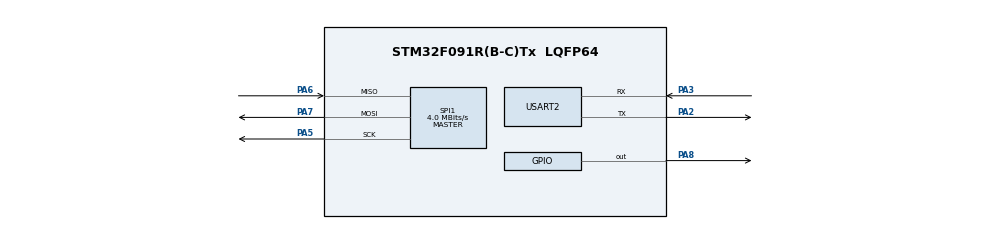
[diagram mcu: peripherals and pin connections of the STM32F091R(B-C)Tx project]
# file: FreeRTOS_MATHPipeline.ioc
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FREERTOS.BinarySemaphores01=SPIBinarySem,Dynamic,NULL,Available
FREERTOS.Mutexes01=SPIBuffMutex,Dynamic,NULL,Available
FREERTOS.Queues01=AccelQueue,100,12,1,Static,AccelQueueBuffer,AccelQueueControlBlock
FREERTOS.Tasks01=UARTTXTask,24,128,StartUARTTXTask,Default,NULL,Dynamic,NULL,NULL;SPIAcquisitionT,8,128,StartSPIAcquisitionTask,Default,NULL,Dynamic,NULL,NULL
FREERTOS.configUSE_NEWLIB_REENTRANT=1
Mcu.Family=STM32F0
Mcu.Name=STM32F091R(B-C)Tx
Mcu.Package=LQFP64
NVIC.SPI1_IRQn=true\:3\:0\:false\:false\:true\:true\:true\:true\:true
NVIC.TIM6_DAC_IRQn=true\:3\:0\:false\:false\:true\:false\:false\:true\:true
NVIC.TimeBase=TIM6_DAC_IRQn
NVIC.TimeBaseIP=TIM6
NVIC.USART2_IRQn=true\:3\:0\:false\:false\:true\:true\:true\:true\:true
PA13.Mode=Serial_Wire
PA13.Signal=SYS_SWDIO
PA14.Mode=Serial_Wire
PA14.Signal=SYS_SWCLK
PA2.Mode=Asynchronous
PA2.Signal=USART2_TX
PA3.Mode=Asynchronous
PA3.Signal=USART2_RX
PA5.Mode=Full_Duplex_Master
PA5.Signal=SPI1_SCK
PA6.Mode=Full_Duplex_Master
PA6.Signal=SPI1_MISO
PA7.Mode=Full_Duplex_Master
PA7.Signal=SPI1_MOSI
PA8.Signal=GPIO_Output
ProjectManager.HeapSize=0x200
ProjectManager.StackSize=0x400
ProjectManager.TargetToolchain=STM32CubeIDE
SPI1.BaudRatePrescaler=SPI_BAUDRATEPRESCALER_2
SPI1.CLKPhase=SPI_PHASE_2EDGE
SPI1.CLKPolarity=SPI_POLARITY_HIGH
SPI1.CalculateBaudRate=4.0 MBits/s
SPI1.DataSize=SPI_DATASIZE_8BIT
SPI1.Direction=SPI_DIRECTION_2LINES
SPI1.FirstBit=SPI_FIRSTBIT_LSB
SPI1.Mode=SPI_MODE_MASTER
SPI1.VirtualType=VM_MASTER
USART2.VirtualMode-Asynchronous=VM_ASYNC
VP_FREERTOS_VS_CMSIS_V2.Mode=CMSIS_V2
VP_SYS_VS_tim6.Mode=TIM6
board=custom

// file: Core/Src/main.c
/* USER CODE BEGIN Header */
/**
  ******************************************************************************
  * @file           : main.c
  * @brief          : Main program body
  ******************************************************************************
  * @attention
  *
  * Copyright (c) 2026 STMicroelectronics.
  * All rights reserved.
  *
  * This software is licensed under terms that can be found in the LICENSE file
  * in the root directory of this software component.
  * If no LICENSE file comes with this software, it is provided AS-IS.
  *
  ******************************************************************************
  */
/* USER CODE END Header */
#include "main.h"
#include "cmsis_os.h"

/* USER CODE BEGIN Includes */

#include "app_types.h"
#include <stdbool.h>
#include <string.h>

/* USER CODE END Includes */

typedef StaticQueue_t osStaticMessageQDef_t;

SPI_HandleTypeDef hspi1;

UART_HandleTypeDef huart2;

/* Definitions for UARTTXTask */
osThreadId_t UARTTXTaskHandle;
const osThreadAttr_t UARTTXTask_attributes = {
  .name = "UARTTXTask",
  .stack_size = 128 * 4,
  .priority = (osPriority_t) osPriorityNormal,
};
/* Definitions for SPIAcquisitionT */
osThreadId_t SPIAcquisitionTHandle;
const osThreadAttr_t SPIAcquisitionT_attributes = {
  .name = "SPIAcquisitionT",
  .stack_size = 128 * 4,
  .priority = (osPriority_t) osPriorityLow,
};
/* Definitions for AccelQueue */
osMessageQueueId_t AccelQueueHandle;
uint8_t AccelQueueBuffer[ 100 * 12 ];
osStaticMessageQDef_t AccelQueueControlBlock;
const osMessageQueueAttr_t AccelQueue_attributes = {
  .name = "AccelQueue",
  .cb_mem = &AccelQueueControlBlock,
  .cb_size = sizeof(AccelQueueControlBlock),
  .mq_mem = &AccelQueueBuffer,
  .mq_size = sizeof(AccelQueueBuffer)
};
/* Definitions for SPIBuffMutex */
osMutexId_t SPIBuffMutexHandle;
const osMutexAttr_t SPIBuffMutex_attributes = {
  .name = "SPIBuffMutex"
};
/* Definitions for SPIBinarySem */
osSemaphoreId_t SPIBinarySemHandle;
const osSemaphoreAttr_t SPIBinarySem_attributes = {
  .name = "SPIBinarySem"
};
/* USER CODE BEGIN PV */

// tx and rx buffers for SPI
// their size is 7 since we have a initial command byte
// and then 6 bytes of dummy data so the clock drives and
// shifts out the 6 register bytes
static uint8_t spi_tx_buffer[SPI_BUFF_SIZE];
static uint8_t spi_rx_buffer[SPI_BUFF_SIZE];

/* USER CODE END PV */

void SystemClock_Config(void);
static void MX_GPIO_Init(void);
static void MX_USART2_UART_Init(void);
static void MX_SPI1_Init(void);
void StartUARTTXTask(void *argument);
void StartSPIAcquisitionTask(void *argument);

/* USER CODE BEGIN 0 */

static uint8_t reverse6(uint8_t v)
{
    v &= 0x7F;                // keep only 6 bits

    uint8_t r = 0;
    for (int i = 0; i < 6; i++)
    {
        r <<= 1;
        r |= (v & 1);
        v >>= 1;
    }
    return r;
}

static void generate_spi_cmd(uint8_t *cmd_buffer, uint8_t reg_address, bool auto_increment, bool read)
{
	uint8_t msb_reg_addr = reverse6(reg_address);

	cmd_buffer[0] = (msb_reg_addr << 2) | (auto_increment << 1) | read;
}

/* USER CODE END 0 */

int main(void)
{

  /* MCU Configuration--------------------------------------------------------*/

  /* Reset of all peripherals, Initializes the Flash interface and the Systick. */
  HAL_Init();

  /* Configure the system clock */
  SystemClock_Config();

  /* Initialize all configured peripherals */
  MX_GPIO_Init();
  MX_USART2_UART_Init();
  MX_SPI1_Init();
  /* USER CODE BEGIN 2 */
  PA8_TOGGLE(); // slave select must be idle high
  /* USER CODE END 2 */

  /* Init scheduler */
  osKernelInitialize();
  /* Create the mutex(es) */
  /* creation of SPIBuffMutex */
  SPIBuffMutexHandle = osMutexNew(&SPIBuffMutex_attributes);

  /* Create the semaphores(s) */
  /* creation of SPIBinarySem */
  SPIBinarySemHandle = osSemaphoreNew(1, 1, &SPIBinarySem_attributes);

  /* Create the queue(s) */
  /* creation of AccelQueue */
  AccelQueueHandle = osMessageQueueNew (100, 12, &AccelQueue_attributes);

  /* Create the thread(s) */
  /* creation of UARTTXTask */
  UARTTXTaskHandle = osThreadNew(StartUARTTXTask, NULL, &UARTTXTask_attributes);

  /* creation of SPIAcquisitionT */
  SPIAcquisitionTHandle = osThreadNew(StartSPIAcquisitionTask, NULL, &SPIAcquisitionT_attributes);

  /* Start scheduler */
  osKernelStart();

  /* We should never get here as control is now taken by the scheduler */

  /* Infinite loop */
  while (1)
  {

  }
}

void SystemClock_Config(void)
{
  RCC_OscInitTypeDef RCC_OscInitStruct = {0};
  RCC_ClkInitTypeDef RCC_ClkInitStruct = {0};
  RCC_PeriphCLKInitTypeDef PeriphClkInit = {0};

  /** Initializes the RCC Oscillators according to the specified parameters
  * in the RCC_OscInitTypeDef structure.
  */
  RCC_OscInitStruct.OscillatorType = RCC_OSCILLATORTYPE_HSI;
  RCC_OscInitStruct.HSIState = RCC_HSI_ON;
  RCC_OscInitStruct.HSICalibrationValue = RCC_HSICALIBRATION_DEFAULT;
  RCC_OscInitStruct.PLL.PLLState = RCC_PLL_NONE;
  if (HAL_RCC_OscConfig(&RCC_OscInitStruct) != HAL_OK)
  {
    Error_Handler();
  }

  /** Initializes the CPU, AHB and APB buses clocks
  */
  RCC_ClkInitStruct.ClockType = RCC_CLOCKTYPE_HCLK|RCC_CLOCKTYPE_SYSCLK
                              |RCC_CLOCKTYPE_PCLK1;
  RCC_ClkInitStruct.SYSCLKSource = RCC_SYSCLKSOURCE_HSI;
  RCC_ClkInitStruct.AHBCLKDivider = RCC_SYSCLK_DIV1;
  RCC_ClkInitStruct.APB1CLKDivider = RCC_HCLK_DIV1;

  if (HAL_RCC_ClockConfig(&RCC_ClkInitStruct, FLASH_LATENCY_0) != HAL_OK)
  {
    Error_Handler();
  }
  PeriphClkInit.PeriphClockSelection = RCC_PERIPHCLK_USART2;
  PeriphClkInit.Usart2ClockSelection = RCC_USART2CLKSOURCE_PCLK1;
  if (HAL_RCCEx_PeriphCLKConfig(&PeriphClkInit) != HAL_OK)
  {
    Error_Handler();
  }
}

static void MX_SPI1_Init(void)
{

  /* SPI1 parameter configuration*/
  hspi1.Instance = SPI1;
  hspi1.Init.Mode = SPI_MODE_MASTER;
  hspi1.Init.Direction = SPI_DIRECTION_2LINES;
  hspi1.Init.DataSize = SPI_DATASIZE_8BIT;
  hspi1.Init.CLKPolarity = SPI_POLARITY_HIGH;
  hspi1.Init.CLKPhase = SPI_PHASE_2EDGE;
  hspi1.Init.NSS = SPI_NSS_SOFT;
  hspi1.Init.BaudRatePrescaler = SPI_BAUDRATEPRESCALER_2;
  hspi1.Init.FirstBit = SPI_FIRSTBIT_LSB;
  hspi1.Init.TIMode = SPI_TIMODE_DISABLE;
  hspi1.Init.CRCCalculation = SPI_CRCCALCULATION_DISABLE;
  hspi1.Init.CRCPolynomial = 7;
  hspi1.Init.CRCLength = SPI_CRC_LENGTH_DATASIZE;
  hspi1.Init.NSSPMode = SPI_NSS_PULSE_DISABLE;
  if (HAL_SPI_Init(&hspi1) != HAL_OK)
  {
    Error_Handler();
  }

}

static void MX_USART2_UART_Init(void)
{

  huart2.Instance = USART2;
  huart2.Init.BaudRate = 115200;
  huart2.Init.WordLength = UART_WORDLENGTH_8B;
  huart2.Init.StopBits = UART_STOPBITS_1;
  huart2.Init.Parity = UART_PARITY_NONE;
  huart2.Init.Mode = UART_MODE_TX_RX;
  huart2.Init.HwFlowCtl = UART_HWCONTROL_NONE;
  huart2.Init.OverSampling = UART_OVERSAMPLING_16;
  huart2.Init.OneBitSampling = UART_ONE_BIT_SAMPLE_DISABLE;
  huart2.AdvancedInit.AdvFeatureInit = UART_ADVFEATURE_NO_INIT;
  if (HAL_UART_Init(&huart2) != HAL_OK)
  {
    Error_Handler();
  }

}

static void MX_GPIO_Init(void)
{
  GPIO_InitTypeDef GPIO_InitStruct = {0};

  /* GPIO Ports Clock Enable */
  __HAL_RCC_GPIOA_CLK_ENABLE();

  /*Configure GPIO pin Output Level */
  HAL_GPIO_WritePin(GPIOA, GPIO_PIN_8, GPIO_PIN_RESET);

  /*Configure GPIO pin : PA8 */
  GPIO_InitStruct.Pin = GPIO_PIN_8;
  GPIO_InitStruct.Mode = GPIO_MODE_OUTPUT_PP;
  GPIO_InitStruct.Pull = GPIO_NOPULL;
  GPIO_InitStruct.Speed = GPIO_SPEED_FREQ_LOW;
  HAL_GPIO_Init(GPIOA, &GPIO_InitStruct);

}

/* USER CODE BEGIN 4 */

void HAL_SPI_TxRxCpltCallback(SPI_HandleTypeDef *hspi)
{
    if(hspi->Instance == SPI1)
    {
//    	Accel_Sample accel_data = {
//    			.ax = (int16_t)(spi_rx_buffer[2] << 8 | spi_rx_buffer[1]),
//				.ay = (int16_t)(spi_rx_buffer[4] << 8 | spi_rx_buffer[3]),
//				.az = (int16_t)(spi_rx_buffer[6] << 8 | spi_rx_buffer[5])
//    	};

    	Accel_Sample accel_data = {
    	    			.ax = spi_rx_buffer[0],
    	    	};

    	// pull slave select back to idle high
    	PA8_TOGGLE();

        // SPI transfer done, received bytes are now in your rx buffer, push to queue
    	osMessageQueuePut(AccelQueueHandle, &accel_data, 0, 0);

    	// increment count, wake sleeping task in semaphore queue
    	osSemaphoreRelease(SPIBinarySemHandle);
    }
}

/* USER CODE END 4 */

void StartUARTTXTask(void *argument)
{
  /* USER CODE BEGIN 5 */
	/* Infinite loop */
	Accel_Sample accel_data;
	for(;;)
	{
		// read/pop data from rx queue, osWaitForever
		if(osMessageQueueGet(AccelQueueHandle, &accel_data, 0, osWaitForever) == osOK)
		{
			uint8_t buf[2];

			// x-axis
			buf[0] = accel_data.ax & 0xFF;      // LSB
			buf[1] = (accel_data.ax >> 8) & 0xFF; // MSB
			HAL_UART_Transmit_IT(&huart2, buf, 2);

			// y-axis
			buf[0] = accel_data.ay & 0xFF;      // LSB
			buf[1] = (accel_data.ay >> 8) & 0xFF; // MSB
			HAL_UART_Transmit_IT(&huart2, buf, 2);

			// z-axis
			buf[0] = accel_data.az & 0xFF;      // LSB
			buf[1] = (accel_data.az >> 8) & 0xFF; // MSB
			HAL_UART_Transmit_IT(&huart2, buf, 2);
		}

	}
  /* USER CODE END 5 */
}

void StartSPIAcquisitionTask(void *argument)
{
  /* USER CODE BEGIN StartSPIAcquisitionTask */
  /* Infinite loop */
  for(;;)
  {
	  memset(spi_tx_buffer, 0x00, SPI_BUFF_SIZE);
	  spi_tx_buffer[0] = 0x17;

	  // generate_spi_cmd(spi_tx_buffer, OUT_X_L_ADDR, false, true);

	  // pull slave select low on transmit and receive
	  PA8_TOGGLE();

	  HAL_SPI_TransmitReceive_IT(&hspi1, spi_tx_buffer, spi_rx_buffer, 7);

	  // put our current task to sleep into semaphore queue, and decrement count
	  osSemaphoreAcquire(SPIBinarySemHandle, osWaitForever);
  }
  /* USER CODE END StartSPIAcquisitionTask */
}

void HAL_TIM_PeriodElapsedCallback(TIM_HandleTypeDef *htim)
{
  if (htim->Instance == TIM6)
  {
    HAL_IncTick();
  }
}

void Error_Handler(void)
{
  __disable_irq();
  while (1)
  {
  }
}
